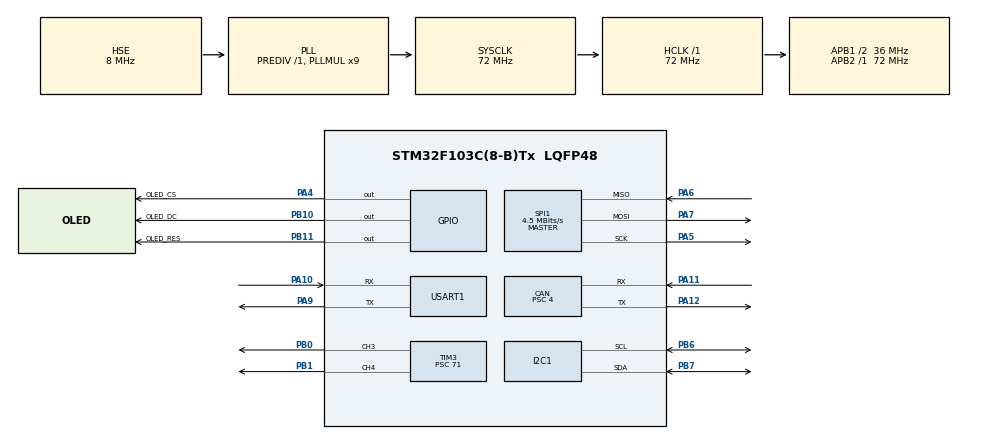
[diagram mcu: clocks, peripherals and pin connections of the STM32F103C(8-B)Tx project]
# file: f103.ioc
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CAN.BS1=CAN_BS1_14TQ
CAN.BS2=CAN_BS2_3TQ
CAN.CalculateBaudRate=500000
CAN.CalculateTimeBit=2000
CAN.CalculateTimeQuantum=111.11111111111111
CAN.Prescaler=4
FREERTOS.BinarySemaphores01=i2cDone,Static,i2cDoneControl,Depleted;spiDone,Static,spiDoneControl,Depleted;canTxDone,Static,canTxDoneControl,Depleted;canRxReady,Static,canRxReadyControl,Depleted
FREERTOS.Queues01=requestQueue,4,uint16_t,0,Static,requestBuffer,requestControl;eventQueue,8,FrameworkSensorEvent,0,Static,eventBuffer,eventControl
FREERTOS.Tasks01=comm,24,256,StartDefaultTask,Default,NULL,Dynamic,NULL,NULL;sensor,32,256,StartSensor,As external,NULL,Dynamic,NULL,NULL;monitor,16,256,StartMonitor,As external,NULL,Dynamic,NULL,NULL
FREERTOS.configTOTAL_HEAP_SIZE=10240
Mcu.Family=STM32F1
Mcu.Name=STM32F103C(8-B)Tx
Mcu.Package=LQFP48
NVIC.CAN1_SCE_IRQn=true\:6\:0\:true\:false\:true\:true\:true\:true\:true
NVIC.I2C1_ER_IRQn=true\:6\:0\:true\:false\:true\:true\:true\:true\:true
NVIC.I2C1_EV_IRQn=true\:6\:0\:true\:false\:true\:true\:true\:true\:true
NVIC.PriorityGroup=NVIC_PRIORITYGROUP_4
NVIC.SPI1_IRQn=true\:6\:0\:true\:false\:true\:true\:true\:true\:true
NVIC.TIM2_IRQn=true\:6\:0\:true\:false\:true\:true\:true\:true\:true
NVIC.TIM3_IRQn=true\:6\:0\:true\:false\:true\:true\:true\:true\:true
NVIC.TIM4_IRQn=true\:15\:0\:false\:false\:true\:false\:false\:true\:true
NVIC.TimeBase=TIM4_IRQn
NVIC.TimeBaseIP=TIM4
NVIC.USART1_IRQn=true\:6\:0\:true\:false\:true\:true\:true\:true\:true
NVIC.USB_HP_CAN1_TX_IRQn=true\:6\:0\:true\:false\:true\:true\:true\:true\:true
NVIC.USB_LP_CAN1_RX0_IRQn=true\:6\:0\:true\:false\:true\:true\:true\:true\:true
PA10.Mode=Asynchronous
PA10.Signal=USART1_RX
PA11.Mode=CAN_Activate
PA11.Signal=CAN_RX
PA12.Mode=CAN_Activate
PA12.Signal=CAN_TX
PA13.Mode=Serial_Wire
PA13.Signal=SYS_JTMS-SWDIO
PA14.Mode=Serial_Wire
PA14.Signal=SYS_JTCK-SWCLK
PA4.GPIO_Label=OLED_CS
PA4.PinState=GPIO_PIN_SET
PA4.Signal=GPIO_Output
PA5.Mode=Full_Duplex_Master
PA5.Signal=SPI1_SCK
PA6.Mode=Full_Duplex_Master
PA6.Signal=SPI1_MISO
PA7.Mode=Full_Duplex_Master
PA7.Signal=SPI1_MOSI
PA9.Mode=Asynchronous
PA9.Signal=USART1_TX
PB0.Signal=S_TIM3_CH3
PB1.Signal=S_TIM3_CH4
PB10.GPIO_Label=OLED_DC
PB10.Signal=GPIO_Output
PB11.GPIO_Label=OLED_RES
PB11.PinState=GPIO_PIN_SET
PB11.Signal=GPIO_Output
PB6.Mode=I2C
PB6.Signal=I2C1_SCL
PB7.Mode=I2C
PB7.Signal=I2C1_SDA
PD0-OSC_IN.Mode=HSE-External-Oscillator
PD0-OSC_IN.Signal=RCC_OSC_IN
PD1-OSC_OUT.Mode=HSE-External-Oscillator
PD1-OSC_OUT.Signal=RCC_OSC_OUT
ProjectManager.HeapSize=0x200
ProjectManager.StackSize=0x400
ProjectManager.TargetToolchain=CMake
RCC.ADCPresc=RCC_ADCPCLK2_DIV6
RCC.AHBFreq_Value=72000000
RCC.APB1CLKDivider=RCC_HCLK_DIV2
RCC.APB1Freq_Value=36000000
RCC.APB1TimFreq_Value=72000000
RCC.APB2Freq_Value=72000000
RCC.APB2TimFreq_Value=72000000
RCC.HCLKFreq_Value=72000000
RCC.PLLMUL=RCC_PLL_MUL9
RCC.PLLSourceVirtual=RCC_PLLSOURCE_HSE
RCC.SYSCLKFreq_VALUE=72000000
RCC.SYSCLKSource=RCC_SYSCLKSOURCE_PLLCLK
RCC.USBFreq_Value=48000000
RCC.USBPrescaler=RCC_USBCLKSOURCE_PLL_DIV1_5
SH.S_TIM3_CH3.0=TIM3_CH3,PWM Generation3 CH3
SH.S_TIM3_CH4.0=TIM3_CH4,PWM Generation4 CH4
SPI1.BaudRatePrescaler=SPI_BAUDRATEPRESCALER_16
SPI1.CalculateBaudRate=4.5 MBits/s
SPI1.Direction=SPI_DIRECTION_2LINES
SPI1.Mode=SPI_MODE_MASTER
SPI1.VirtualType=VM_MASTER
TIM2.Period=999
TIM2.Prescaler=71
TIM3.Channel-PWM\ Generation3\ CH3=TIM_CHANNEL_3
TIM3.Channel-PWM\ Generation4\ CH4=TIM_CHANNEL_4
TIM3.Period=19999
TIM3.Prescaler=71
USART1.VirtualMode=VM_ASYNC
VP_FREERTOS_VS_CMSIS_V2.Mode=CMSIS_V2
VP_SYS_VS_tim4.Mode=TIM4
VP_TIM2_VS_ClockSourceINT.Mode=Internal
VP_TIM3_VS_ClockSourceINT.Mode=Internal
board=custom

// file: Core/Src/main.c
/* USER CODE BEGIN Header */
/**
  ******************************************************************************
  * @file           : main.c
  * @brief          : Main program body
  ******************************************************************************
  * @attention
  *
  * Copyright (c) 2026 STMicroelectronics.
  * All rights reserved.
  *
  * This software is licensed under terms that can be found in the LICENSE file
  * in the root directory of this software component.
  * If no LICENSE file comes with this software, it is provided AS-IS.
  *
  ******************************************************************************
  */
/* USER CODE END Header */
#include "main.h"
#include "cmsis_os.h"
#include "can.h"
#include "i2c.h"
#include "spi.h"
#include "tim.h"
#include "usart.h"
#include "gpio.h"

/* USER CODE BEGIN PV */
/* Available before the UART and scheduler are initialized. */
const char * volatile framework_fault_file;
volatile uint32_t framework_fault_line;
/* USER CODE END PV */

void SystemClock_Config(void);
void MX_FREERTOS_Init(void);

int main(void)
{

  /* MCU Configuration--------------------------------------------------------*/

  /* Reset of all peripherals, Initializes the Flash interface and the Systick. */
  HAL_Init();

  /* Configure the system clock */
  SystemClock_Config();

  /* Initialize all configured peripherals */
  MX_GPIO_Init();
  MX_USART1_UART_Init();
  MX_TIM2_Init();
  MX_CAN_Init();
  MX_I2C1_Init();
  MX_SPI1_Init();
  MX_TIM3_Init();

  /* Init scheduler */
  osKernelInitialize();  /* Call init function for freertos objects (in cmsis_os2.c) */
  MX_FREERTOS_Init();

  /* Start scheduler */
  osKernelStart();

  /* We should never get here as control is now taken by the scheduler */

  /* Infinite loop */
  /* USER CODE BEGIN WHILE */
  Error_Handler();
  while (1)
  {
    /* USER CODE END WHILE */

  }
}

void SystemClock_Config(void)
{
  RCC_OscInitTypeDef RCC_OscInitStruct = {0};
  RCC_ClkInitTypeDef RCC_ClkInitStruct = {0};

  /** Initializes the RCC Oscillators according to the specified parameters
  * in the RCC_OscInitTypeDef structure.
  */
  RCC_OscInitStruct.OscillatorType = RCC_OSCILLATORTYPE_HSE;
  RCC_OscInitStruct.HSEState = RCC_HSE_ON;
  RCC_OscInitStruct.HSEPredivValue = RCC_HSE_PREDIV_DIV1;
  RCC_OscInitStruct.HSIState = RCC_HSI_ON;
  RCC_OscInitStruct.PLL.PLLState = RCC_PLL_ON;
  RCC_OscInitStruct.PLL.PLLSource = RCC_PLLSOURCE_HSE;
  RCC_OscInitStruct.PLL.PLLMUL = RCC_PLL_MUL9;
  if (HAL_RCC_OscConfig(&RCC_OscInitStruct) != HAL_OK)
  {
    Error_Handler();
  }

  /** Initializes the CPU, AHB and APB buses clocks
  */
  RCC_ClkInitStruct.ClockType = RCC_CLOCKTYPE_HCLK|RCC_CLOCKTYPE_SYSCLK
                              |RCC_CLOCKTYPE_PCLK1|RCC_CLOCKTYPE_PCLK2;
  RCC_ClkInitStruct.SYSCLKSource = RCC_SYSCLKSOURCE_PLLCLK;
  RCC_ClkInitStruct.AHBCLKDivider = RCC_SYSCLK_DIV1;
  RCC_ClkInitStruct.APB1CLKDivider = RCC_HCLK_DIV2;
  RCC_ClkInitStruct.APB2CLKDivider = RCC_HCLK_DIV1;

  if (HAL_RCC_ClockConfig(&RCC_ClkInitStruct, FLASH_LATENCY_2) != HAL_OK)
  {
    Error_Handler();
  }
}

/* USER CODE BEGIN 4 */
#undef Error_Handler

void Framework_Fatal(const char *file, uint32_t line)
{
  __disable_irq();
  framework_fault_file = file;
  framework_fault_line = line;
  Error_Handler();
}

__weak void Framework_TimerElapsed(TIM_HandleTypeDef *htim)
{
  (void)htim;
}
/* USER CODE END 4 */

void HAL_TIM_PeriodElapsedCallback(TIM_HandleTypeDef *htim)
{
  if (htim->Instance == TIM4)
  {
    HAL_IncTick();
  }
  /* USER CODE BEGIN Callback 1 */
  if (htim->Instance != TIM4)
  {
    Framework_TimerElapsed(htim);
  }
  /* USER CODE END Callback 1 */
}

void Error_Handler(void)
{
  __disable_irq();
  while (1)
  {
  }
}

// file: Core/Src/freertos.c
/* USER CODE BEGIN Header */
/**
  ******************************************************************************
  * File Name          : freertos.c
  * Description        : Code for freertos applications
  ******************************************************************************
  * @attention
  *
  * Copyright (c) 2026 STMicroelectronics.
  * All rights reserved.
  *
  * This software is licensed under terms that can be found in the LICENSE file
  * in the root directory of this software component.
  * If no LICENSE file comes with this software, it is provided AS-IS.
  *
  ******************************************************************************
  */
/* USER CODE END Header */

#include "FreeRTOS.h"
#include "task.h"
#include "main.h"
#include "cmsis_os.h"

/* USER CODE BEGIN Includes */
#include "Application/rtos_messages.h"

/* USER CODE END Includes */

typedef StaticQueue_t osStaticMessageQDef_t;
typedef StaticSemaphore_t osStaticSemaphoreDef_t;

/* Definitions for comm */
osThreadId_t commHandle;
const osThreadAttr_t comm_attributes = {
  .name = "comm",
  .stack_size = 256 * 4,
  .priority = (osPriority_t) osPriorityNormal,
};
/* Definitions for sensor */
osThreadId_t sensorHandle;
const osThreadAttr_t sensor_attributes = {
  .name = "sensor",
  .stack_size = 256 * 4,
  .priority = (osPriority_t) osPriorityAboveNormal,
};
/* Definitions for monitor */
osThreadId_t monitorHandle;
const osThreadAttr_t monitor_attributes = {
  .name = "monitor",
  .stack_size = 256 * 4,
  .priority = (osPriority_t) osPriorityBelowNormal,
};
/* Definitions for requestQueue */
osMessageQueueId_t requestQueueHandle;
uint8_t requestBuffer[ 4 * sizeof( uint16_t ) ];
osStaticMessageQDef_t requestControl;
const osMessageQueueAttr_t requestQueue_attributes = {
  .name = "requestQueue",
  .cb_mem = &requestControl,
  .cb_size = sizeof(requestControl),
  .mq_mem = &requestBuffer,
  .mq_size = sizeof(requestBuffer)
};
/* Definitions for eventQueue */
osMessageQueueId_t eventQueueHandle;
uint8_t eventBuffer[ 8 * sizeof( FrameworkSensorEvent ) ];
osStaticMessageQDef_t eventControl;
const osMessageQueueAttr_t eventQueue_attributes = {
  .name = "eventQueue",
  .cb_mem = &eventControl,
  .cb_size = sizeof(eventControl),
  .mq_mem = &eventBuffer,
  .mq_size = sizeof(eventBuffer)
};
/* Definitions for i2cDone */
osSemaphoreId_t i2cDoneHandle;
osStaticSemaphoreDef_t i2cDoneControl;
const osSemaphoreAttr_t i2cDone_attributes = {
  .name = "i2cDone",
  .cb_mem = &i2cDoneControl,
  .cb_size = sizeof(i2cDoneControl),
};
/* Definitions for spiDone */
osSemaphoreId_t spiDoneHandle;
osStaticSemaphoreDef_t spiDoneControl;
const osSemaphoreAttr_t spiDone_attributes = {
  .name = "spiDone",
  .cb_mem = &spiDoneControl,
  .cb_size = sizeof(spiDoneControl),
};
/* Definitions for canTxDone */
osSemaphoreId_t canTxDoneHandle;
osStaticSemaphoreDef_t canTxDoneControl;
const osSemaphoreAttr_t canTxDone_attributes = {
  .name = "canTxDone",
  .cb_mem = &canTxDoneControl,
  .cb_size = sizeof(canTxDoneControl),
};
/* Definitions for canRxReady */
osSemaphoreId_t canRxReadyHandle;
osStaticSemaphoreDef_t canRxReadyControl;
const osSemaphoreAttr_t canRxReady_attributes = {
  .name = "canRxReady",
  .cb_mem = &canRxReadyControl,
  .cb_size = sizeof(canRxReadyControl),
};

/* USER CODE BEGIN FunctionPrototypes */
void Framework_Run(void);
/* USER CODE END FunctionPrototypes */

void StartDefaultTask(void *argument);
extern void StartSensor(void *argument);
extern void StartMonitor(void *argument);

void MX_FREERTOS_Init(void); /* (MISRA C 2004 rule 8.1) */

void MX_FREERTOS_Init(void) {
  /* USER CODE BEGIN Init */
  if (osKernelGetState() != osKernelReady)
  {
    Error_Handler();
  }
  /* USER CODE END Init */

  /* Create the semaphores(s) */
  /* creation of i2cDone */
  i2cDoneHandle = osSemaphoreNew(1, 0, &i2cDone_attributes);

  /* creation of spiDone */
  spiDoneHandle = osSemaphoreNew(1, 0, &spiDone_attributes);

  /* creation of canTxDone */
  canTxDoneHandle = osSemaphoreNew(1, 0, &canTxDone_attributes);

  /* creation of canRxReady */
  canRxReadyHandle = osSemaphoreNew(1, 0, &canRxReady_attributes);

  /* Create the queue(s) */
  /* creation of requestQueue */
  requestQueueHandle = osMessageQueueNew (4, sizeof(uint16_t), &requestQueue_attributes);

  /* creation of eventQueue */
  eventQueueHandle = osMessageQueueNew (8, sizeof(FrameworkSensorEvent), &eventQueue_attributes);

  /* Create the thread(s) */
  /* creation of comm */
  commHandle = osThreadNew(StartDefaultTask, NULL, &comm_attributes);

  /* creation of sensor */
  sensorHandle = osThreadNew(StartSensor, NULL, &sensor_attributes);

  /* creation of monitor */
  monitorHandle = osThreadNew(StartMonitor, NULL, &monitor_attributes);

  /* USER CODE BEGIN RTOS_THREADS */
  if (commHandle == NULL || sensorHandle == NULL || monitorHandle == NULL ||
      requestQueueHandle == NULL || eventQueueHandle == NULL)
  {
    Error_Handler();
  }
  /* USER CODE END RTOS_THREADS */

}

void StartDefaultTask(void *argument)
{
  /* USER CODE BEGIN StartDefaultTask */
  (void)argument;
  Framework_Run();
  Error_Handler();
  /* USER CODE END StartDefaultTask */
}
